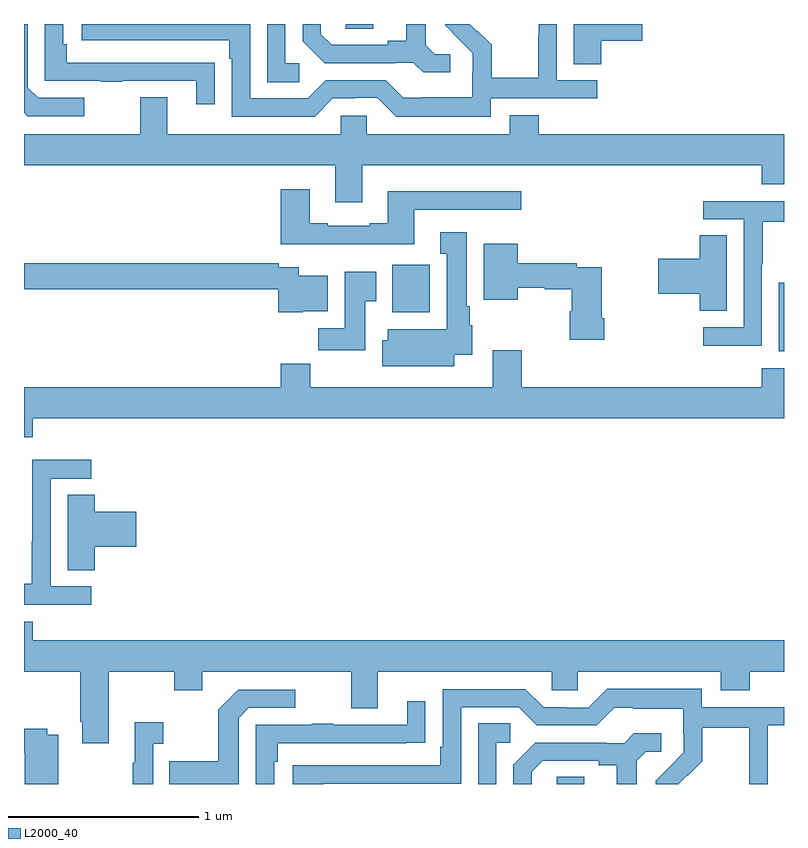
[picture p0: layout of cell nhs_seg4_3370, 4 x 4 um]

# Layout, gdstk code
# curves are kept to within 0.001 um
import gdstk
lib = gdstk.Library(unit=1e-6, precision=1e-09)
def R(c, l, rs):  # rectangles x0, y0, x1, y1
    for r in rs: c.add(gdstk.rectangle(r[:2], r[2:], *l))
def P(c, l, *ps):  # polygons
    for p in ps: c.add(gdstk.Polygon(p, *l))
L2000_40 = (2000, 40)

nhs_seg4_3370 = lib.new_cell('nhs_seg4_3370')
R(nhs_seg4_3370, L2000_40, [(291.804,790.9,291.949,790.937), (292.973,793.178,293,793.539), (290.939,793.382,291.135,793.633), (290.694,794.875,290.839,794.9)])
P(nhs_seg4_3370, L2000_40, [(290.003,794.696),(289.901,794.696),(289.901,794.697),(289.226,794.697),(289.226,794.794),(289.206,794.794),(289.206,794.9),(289.11,794.9),(289.11,794.601),(289.405,794.601),(289.405,794.596),(289.517,794.596),(289.517,794.601),(289.907,794.601),(289.907,794.478),(290.003,794.478)],
  [(291.456,794.508),(292.018,794.508),(292.018,794.604),(291.804,794.604),(291.804,794.9),(291.708,794.9),(291.708,794.84),(291.706,794.84),(291.706,794.617),(291.461,794.617),(291.461,794.791),(291.384,794.868),(291.381,794.865),(291.346,794.9),(291.216,794.9),(291.216,794.894),(291.362,794.746),(291.362,794.649),(291.36,794.649),(291.36,794.515),(291.097,794.515),(291.097,794.511),(290.997,794.511),(290.904,794.604),(290.589,794.604),(290.493,794.508),(290.19,794.508),(290.19,794.9),(289.305,794.9),(289.305,794.814),(290.081,794.814),(290.081,794.717),(290.094,794.717),(290.094,794.412),(290.529,794.412),(290.625,794.508),(290.744,794.508),(290.744,794.511),(290.859,794.511),(290.959,794.411),(291.456,794.411)],
  [(289.318,794.511),(289.074,794.511),(289.02,794.565),(289.02,794.9),(289,794.9),(289,794.432),(289.017,794.415),(289.318,794.415)],
  [(292.037,794.813),(292.255,794.813),(292.255,794.9),(291.893,794.9),(291.893,794.689),(292.037,794.689)],
  [(291.244,794.742),(291.162,794.742),(291.115,794.789),(291.115,794.9),(291.011,794.9),(291.011,794.813),(290.915,794.813),(290.915,794.79),(290.62,794.79),(290.563,794.847),(290.563,794.9),(290.466,794.9),(290.466,794.81),(290.582,794.694),(290.954,794.694),(290.954,794.697),(291.048,794.697),(291.1,794.645),(291.244,794.645)],
  [(290.449,794.694),(290.376,794.694),(290.376,794.9),(290.28,794.9),(290.28,794.593),(290.449,794.593)],
  [(290.779,794.156),(292.883,794.156),(292.883,794.057),(293,794.057),(293,794.32),(291.71,794.32),(291.71,794.419),(291.557,794.419),(291.557,794.32),(290.805,794.32),(290.805,794.418),(290.667,794.418),(290.667,794.32),(289.753,794.32),(289.753,794.515),(289.613,794.515),(289.613,794.32),(289,794.32),(289,794.156),(290.639,794.156),(290.639,793.962),(290.779,793.962)],
  [(291.055,793.923),(291.616,793.923),(291.616,794.02),(290.915,794.02),(290.915,793.852),(290.819,793.852),(290.819,793.839),(290.599,793.839),(290.599,793.852),(290.503,793.852),(290.503,794.029),(290.351,794.029),(290.351,793.742),(291.055,793.742)],
  [(292.884,793.636),(292.887,793.636),(292.887,793.86),(293,793.86),(293,793.968),(292.575,793.968),(292.575,793.872),(292.788,793.872),(292.788,793.305),(292.575,793.305),(292.575,793.207),(292.884,793.207)],
  [(291.265,793.16),(291.358,793.16),(291.358,793.314),(291.346,793.314),(291.346,793.414),(291.331,793.414),(291.331,793.804),(291.191,793.804),(291.191,793.691),(291.224,793.691),(291.224,793.294),(290.915,793.294),(290.915,793.235),(290.885,793.235),(290.885,793.1),(291.265,793.1)],
  [(292.699,793.787),(292.556,793.787),(292.556,793.664),(292.338,793.664),(292.338,793.481),(292.556,793.481),(292.556,793.39),(292.699,793.39)],
  [(292.055,793.351),(292.042,793.351),(292.042,793.62),(291.908,793.62),(291.908,793.64),(291.598,793.64),(291.598,793.744),(291.419,793.744),(291.419,793.448),(291.598,793.448),(291.598,793.512),(291.741,793.512),(291.741,793.504),(291.884,793.504),(291.884,793.389),(291.872,793.389),(291.872,793.239),(292.055,793.239)],
  [(290.466,793.388),(290.599,793.388),(290.599,793.576),(290.445,793.576),(290.445,793.62),(290.342,793.62),(290.342,793.64),(289,793.64),(289,793.504),(290.337,793.504),(290.337,793.382),(290.466,793.382)],
  [(290.797,793.441),(290.854,793.441),(290.854,793.597),(290.687,793.597),(290.687,793.3),(290.548,793.3),(290.548,793.182),(290.797,793.182)],
  [(289.046,792.824),(293,792.824),(293,793.087),(292.883,793.087),(292.883,792.988),(291.62,792.988),(291.62,793.183),(291.467,793.183),(291.467,792.988),(290.507,792.988),(290.507,793.112),(290.351,793.112),(290.351,792.988),(289,792.988),(289,792.725),(289.046,792.725)],
  [(289.354,791.94),(289.14,791.94),(289.14,792.507),(289.354,792.507),(289.354,792.606),(289.044,792.606),(289.044,792.176),(289.042,792.176),(289.042,791.953),(289,791.953),(289,791.844),(289.354,791.844)],
  [(289.373,792.149),(289.591,792.149),(289.591,792.332),(289.373,792.332),(289.373,792.422),(289.229,792.422),(289.229,792.025),(289.373,792.025)],
  [(289.447,791.492),(289.792,791.492),(289.792,791.393),(289.939,791.393),(289.939,791.492),(290.723,791.492),(290.723,791.298),(290.863,791.298),(290.863,791.492),(291.777,791.492),(291.777,791.394),(291.915,791.394),(291.915,791.492),(292.667,791.492),(292.667,791.393),(292.82,791.393),(292.82,791.492),(293,791.492),(293,791.656),(289.046,791.656),(289.046,791.755),(289,791.755),(289,791.492),(289.295,791.492),(289.295,791.227),(289.307,791.227),(289.307,791.115),(289.447,791.115)],
  [(290.576,790.902),(291.3,790.902),(291.3,791.304),(291.603,791.304),(291.699,791.208),(292.014,791.208),(292.107,791.301),(292.207,791.301),(292.207,791.297),(292.47,791.297),(292.47,791.163),(292.472,791.163),(292.472,791.066),(292.326,790.918),(292.326,790.9),(292.444,790.9),(292.491,790.947),(292.494,790.944),(292.571,791.021),(292.571,791.196),(292.816,791.196),(292.816,790.972),(292.818,790.972),(292.818,790.9),(292.914,790.9),(292.914,791.208),(293,791.208),(293,791.304),(292.566,791.304),(292.566,791.401),(292.069,791.401),(291.969,791.301),(291.854,791.301),(291.854,791.304),(291.735,791.304),(291.639,791.4),(291.204,791.4),(291.204,791.095),(291.191,791.095),(291.191,790.998),(290.415,790.998),(290.415,790.9),(290.576,790.9)],
  [(290.13,791.247),(290.184,791.301),(290.428,791.301),(290.428,791.397),(290.127,791.397),(290.022,791.291),(290.022,791.019),(289.765,791.019),(289.765,790.9),(290.13,790.9)],
  [(290.316,791.018),(290.336,791.018),(290.336,791.115),(291.011,791.115),(291.011,791.116),(291.113,791.116),(291.113,791.335),(291.017,791.335),(291.017,791.211),(290.627,791.211),(290.627,791.216),(290.515,791.216),(290.515,791.211),(290.22,791.211),(290.22,790.9),(290.316,790.9)],
  [(289.68,791.111),(289.732,791.111),(289.732,791.224),(289.583,791.224),(289.583,791.011),(289.572,791.011),(289.572,790.9),(289.68,790.9)],
  [(291.486,791.118),(291.559,791.118),(291.559,791.219),(291.39,791.219),(291.39,790.9),(291.486,790.9)],
  [(289.179,791.158),(289.122,791.158),(289.122,791.191),(289,791.191),(289,791.062),(289.004,791.062),(289.004,790.9),(289.179,790.9)],
  [(291.673,790.965),(291.73,791.022),(292.025,791.022),(292.025,791),(292.121,791),(292.121,790.9),(292.225,790.9),(292.225,791.023),(292.272,791.07),(292.354,791.07),(292.354,791.167),(292.21,791.167),(292.158,791.115),(292.064,791.115),(292.064,791.118),(291.692,791.118),(291.576,791.002),(291.576,790.9),(291.673,790.9)])

lib.write_gds('nhs_seg4_3370.gds')
